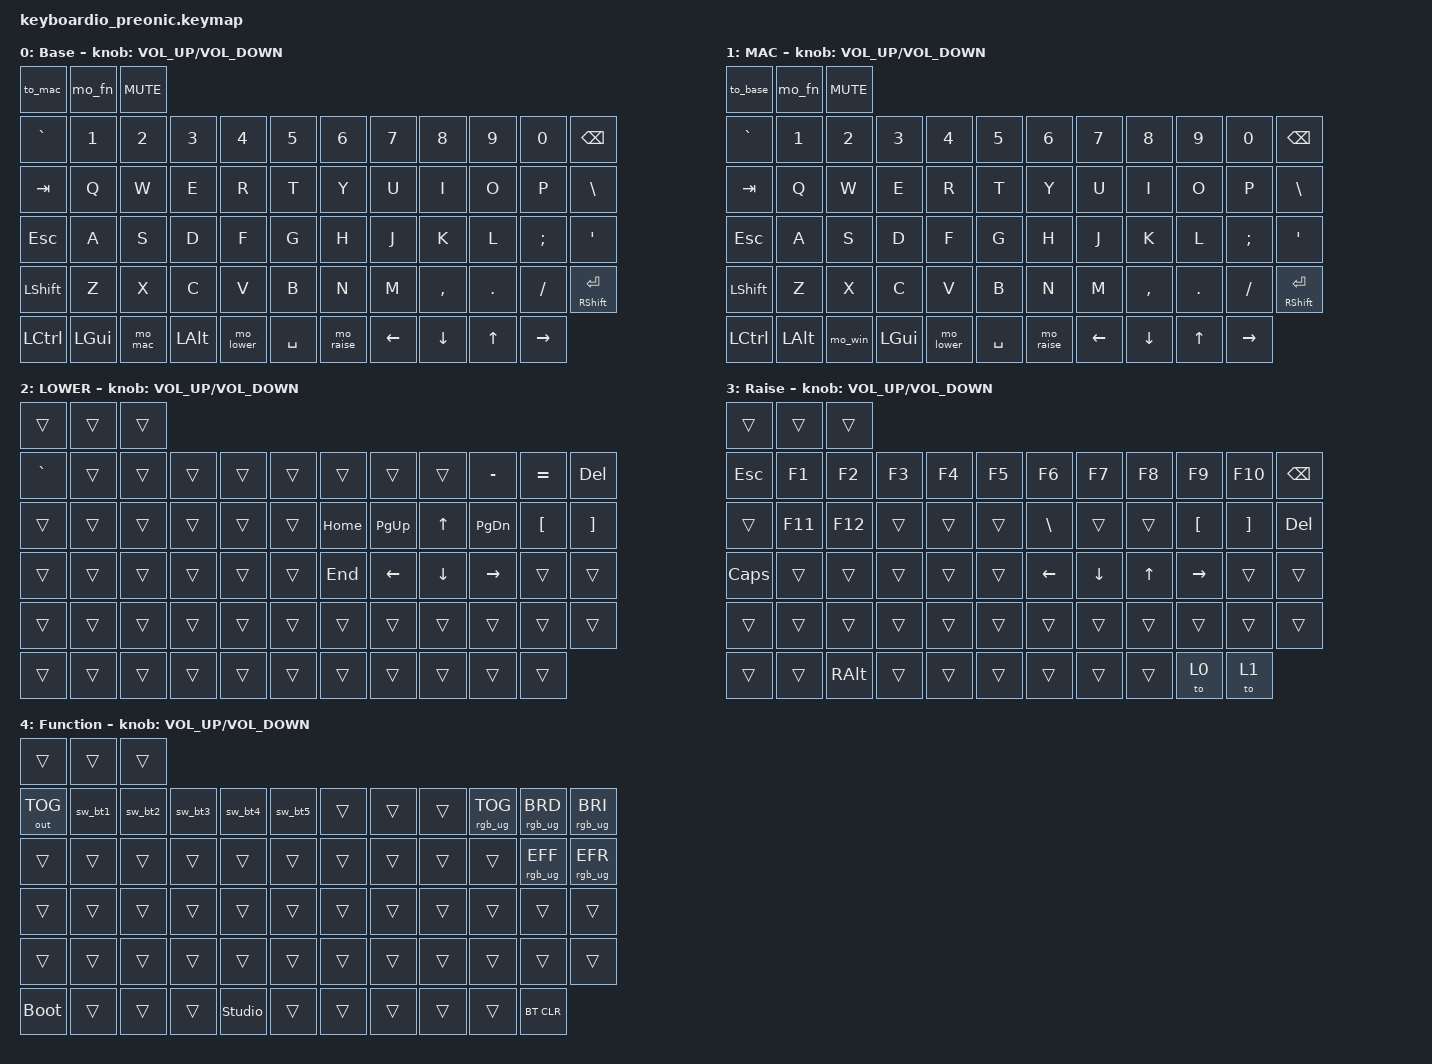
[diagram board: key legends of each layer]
/*
 * Copyright (c) 2022 Pete Johanson
 *
 * SPDX-License-Identifier: MIT
 */

#include <behaviors.dtsi>
#include <dt-bindings/zmk/keys.h>
#include <dt-bindings/zmk/bt.h>
#include <dt-bindings/zmk/outputs.h>
#include <dt-bindings/zmk/backlight.h>
#include <dt-bindings/zmk/rgb.h>

/* 레이어 정의 */
#define BASE  0
#define MAC   1
#define LOWER 2
#define RAISE 3
#define FN    4

// Convenience macro to make the Bluetooth commands shorter
#define BT(n) BT_SEL n

// Hyper key: all the modifiers
#define HYPER LC(LS(LA(LGUI)))

&lt { quick_tap_ms = <200>; };

/ {
    chosen {
        zmk,physical-layout = &mit_layout;
    };

    macros { 
        // MAC 레이어로 영구 이동 (민트색: 180)
        to_mac: to_mac {
            compatible = "zmk,behavior-macro";
            #binding-cells = <0>;
            bindings = <&macro_tap &rgb_ug RGB_COLOR_HSB(180,100,100)>, <&macro_tap &to MAC>;
        };

        // BASE 레이어로 영구 이동 (파란색: 240)
        to_base: to_base {
            compatible = "zmk,behavior-macro";
            #binding-cells = <0>;
            bindings = <&macro_tap &rgb_ug RGB_COLOR_HSB(240,100,100)>, <&macro_tap &to BASE>;
        };

        // BASE(Windows) 레이어 임시 이동 (파란색: 240 / 떼면 민트색 복귀)
        mo_win: mo_win {
            compatible = "zmk,behavior-macro";
            #binding-cells = <0>;
            bindings = <&macro_press &mo BASE>, <&macro_tap &rgb_ug RGB_COLOR_HSB(240,100,100)>, <&macro_pause_for_release>, <&macro_release &mo BASE>, <&macro_tap &rgb_ug RGB_COLOR_HSB(180,100,100)>;
        };

        // MAC 레이어 (민트색: 180 / 떼면 파란색 복귀) [cite: 47]
        mo_mac: mo_mac {
            compatible = "zmk,behavior-macro";
            #binding-cells = <0>;
            bindings = <&macro_press &mo MAC>, <&macro_tap &rgb_ug RGB_COLOR_HSB(180,100,100)>, <&macro_pause_for_release>, <&macro_release &mo MAC>, <&macro_tap &rgb_ug RGB_COLOR_HSB(240,100,100)>;
        };

        // LOWER 레이어 (초록색: 120 / 떼면 파란색 복귀) [cite: 49]
        mo_lower: mo_lower {
            compatible = "zmk,behavior-macro";
            #binding-cells = <0>;
            bindings = <&macro_press &mo LOWER>, <&macro_tap &rgb_ug RGB_COLOR_HSB(120,100,100)>, <&macro_pause_for_release>, <&macro_release &mo LOWER>, <&macro_tap &rgb_ug RGB_COLOR_HSB(240,100,100)>;
        };

        // RAISE 레이어 (노란색: 60 / 떼면 파란색 복귀) [cite: 51]
        mo_raise: mo_raise {
            compatible = "zmk,behavior-macro";
            #binding-cells = <0>;
            bindings = <&macro_press &mo RAISE>, <&macro_tap &rgb_ug RGB_COLOR_HSB(60,100,100)>, <&macro_pause_for_release>, <&macro_release &mo RAISE>, <&macro_tap &rgb_ug RGB_COLOR_HSB(240,100,100)>;
        };

        // FN 레이어 (보라색: 300 / 떼면 파란색 복귀) [cite: 53]
        mo_fn: mo_fn {
            compatible = "zmk,behavior-macro";
            #binding-cells = <0>;
            bindings = <&macro_press &mo FN>, <&macro_tap &rgb_ug RGB_COLOR_HSB(300,100,100)>, <&macro_pause_for_release>, <&macro_release &mo FN>, <&macro_tap &rgb_ug RGB_COLOR_HSB(240,100,100)>;
        };

        // Bluetooth 선택 시 색상 변경 매크로들 [cite: 54, 56, 58, 60, 62]
        sw_bt1: sw_bt1 { compatible = "zmk,behavior-macro"; #binding-cells = <0>; wait-ms = <0>; tap-ms = <0>; bindings = <&rgb_ug RGB_COLOR_HSB(128,100,10)>, <&bt BT(0)>; };
        sw_bt2: sw_bt2 { compatible = "zmk,behavior-macro"; #binding-cells = <0>; wait-ms = <40>; tap-ms = <40>; bindings = <&rgb_ug RGB_COLOR_HSB(0,100,10)>, <&bt BT(1)>; };
        sw_bt3: sw_bt3 { compatible = "zmk,behavior-macro"; #binding-cells = <0>; wait-ms = <40>; tap-ms = <40>; bindings = <&rgb_ug RGB_COLOR_HSB(300,100,10)>, <&bt BT(2)>; };
        sw_bt4: sw_bt4 { compatible = "zmk,behavior-macro"; #binding-cells = <0>; wait-ms = <40>; tap-ms = <40>; bindings = <&rgb_ug RGB_COLOR_HSB(250,100,10)>, <&bt BT(3)>; };
        sw_bt5: sw_bt5 { compatible = "zmk,behavior-macro"; #binding-cells = <0>; wait-ms = <40>; tap-ms = <40>; bindings = <&rgb_ug RGB_COLOR_HSB(50,100,10)>, <&bt BT(4)>; };
    };

    keymap {
        compatible = "zmk,keymap";

        base_layer {
            label = "Base";
            bindings = <
                &to_mac     &mo_fn      &kp C_MUTE
                &kp GRAVE   &kp N1      &kp N2      &kp N3      &kp N4      &kp N5      &kp N6      &kp N7      &kp N8      &kp N9      &kp N0      &kp BKSP
                &kp TAB     &kp Q       &kp W       &kp E       &kp R       &kp T       &kp Y       &kp U       &kp I       &kp O       &kp P       &kp BSLH
                &kp ESC     &kp A       &kp S       &kp D       &kp F       &kp G       &kp H       &kp J       &kp K       &kp L       &kp SEMI    &kp SQT
                &kp LSHFT   &kp Z       &kp X       &kp C       &kp V       &kp B       &kp N       &kp M       &kp COMMA   &kp PERIOD  &kp SLASH   &mt RSHFT ENTER
                &kp LCTRL   &kp LGUI    &mo_mac     &kp LALT    &mo_lower   &kp SPACE   &mo_raise   &kp LEFT    &kp DOWN    &kp UP      &kp RIGHT
            >;
            sensor-bindings = <&inc_dec_kp C_VOLUME_UP C_VOLUME_DOWN>;     
        };

        Mac_layer {
            label = "MAC";
            bindings = <
                &to_base    &mo_fn      &kp C_MUTE
                &kp GRAVE   &kp N1      &kp N2      &kp N3      &kp N4      &kp N5      &kp N6      &kp N7      &kp N8      &kp N9      &kp N0      &kp BKSP
                &kp TAB     &kp Q       &kp W       &kp E       &kp R       &kp T       &kp Y       &kp U       &kp I       &kp O       &kp P       &kp BSLH
                &kp ESC     &kp A       &kp S       &kp D       &kp F       &kp G       &kp H       &kp J       &kp K       &kp L       &kp SEMI    &kp SQT
                &kp LSHFT   &kp Z       &kp X       &kp C       &kp V       &kp B       &kp N       &kp M       &kp COMMA   &kp PERIOD  &kp SLASH   &mt RSHFT ENTER
                &kp LCTRL   &kp LALT    &mo_win     &kp LGUI    &mo_lower   &kp SPACE   &mo_raise   &kp LEFT    &kp DOWN    &kp UP      &kp RIGHT
            >;
            sensor-bindings = <&inc_dec_kp C_VOLUME_UP C_VOLUME_DOWN>;
        };

        lower_layer {
            label = "LOWER";
            bindings = <
                &trans      &trans      &trans
                &kp GRAVE   &trans      &trans      &trans      &trans      &trans      &trans      &trans      &trans     &kp MINUS    &kp EQUAL    &kp DEL
                &trans      &trans      &trans      &trans      &trans      &trans      &kp HOME    &kp PG_UP   &kp UP     &kp PG_DN    &kp LBKT     &kp RBKT
                &trans      &trans      &trans      &trans      &trans      &trans      &kp END     &kp LEFT    &kp DOWN   &kp RIGHT    &trans       &trans
                &trans      &trans      &trans      &trans      &trans      &trans      &trans      &trans      &trans     &trans       &trans       &trans
                &trans      &trans      &trans      &trans      &trans      &trans      &trans      &trans      &trans     &trans       &trans
            >;
            sensor-bindings = <&inc_dec_kp C_VOLUME_UP C_VOLUME_DOWN>;
        };

        raise_layer {
            label = "Raise";
            bindings = <
                &trans      &trans      &trans
                &kp ESC     &kp F1      &kp F2      &kp F3      &kp F4      &kp F5      &kp F6      &kp F7       &kp F8       &kp F9     &kp F10    &kp BKSP
                &trans      &kp F11     &kp F12     &trans      &trans      &trans      &kp BSLH    &trans       &trans       &kp LBKT   &kp RBKT   &kp DEL
                &kp CAPS    &trans      &trans      &trans      &trans      &trans      &kp LEFT    &kp DOWN     &kp UP       &kp RIGHT  &trans     &trans
                &trans      &trans      &trans      &trans      &trans      &trans      &trans      &trans       &trans       &trans     &trans     &trans
                &trans      &trans      &kp RALT    &trans      &trans      &trans      &trans      &trans       &trans       &to 0      &to 1
            >;
            sensor-bindings = <&inc_dec_kp C_VOLUME_UP C_VOLUME_DOWN>;
        };

        func_layer {
            label = "Function";
            bindings = <
                &trans      &trans      &trans
                &out OUT_TOG &sw_bt1    &sw_bt2     &sw_bt3     &sw_bt4     &sw_bt5     &trans      &trans      &trans       &rgb_ug RGB_TOG &rgb_ug RGB_BRD &rgb_ug RGB_BRI
                &trans      &trans      &trans      &trans      &trans      &trans      &trans      &trans      &trans       &trans          &rgb_ug RGB_EFF &rgb_ug RGB_EFR
                &trans      &trans      &trans      &trans      &trans      &trans      &trans      &trans      &trans       &trans          &trans          &trans
                &trans      &trans      &trans      &trans      &trans      &trans      &trans      &trans      &trans       &trans          &trans          &trans
                &bootloader &trans      &trans      &trans      &studio_unlock &trans   &trans      &trans      &trans       &trans          &bt BT_CLR
            >;
            sensor-bindings = <&inc_dec_kp C_VOLUME_UP C_VOLUME_DOWN>;
        };
    };
};
